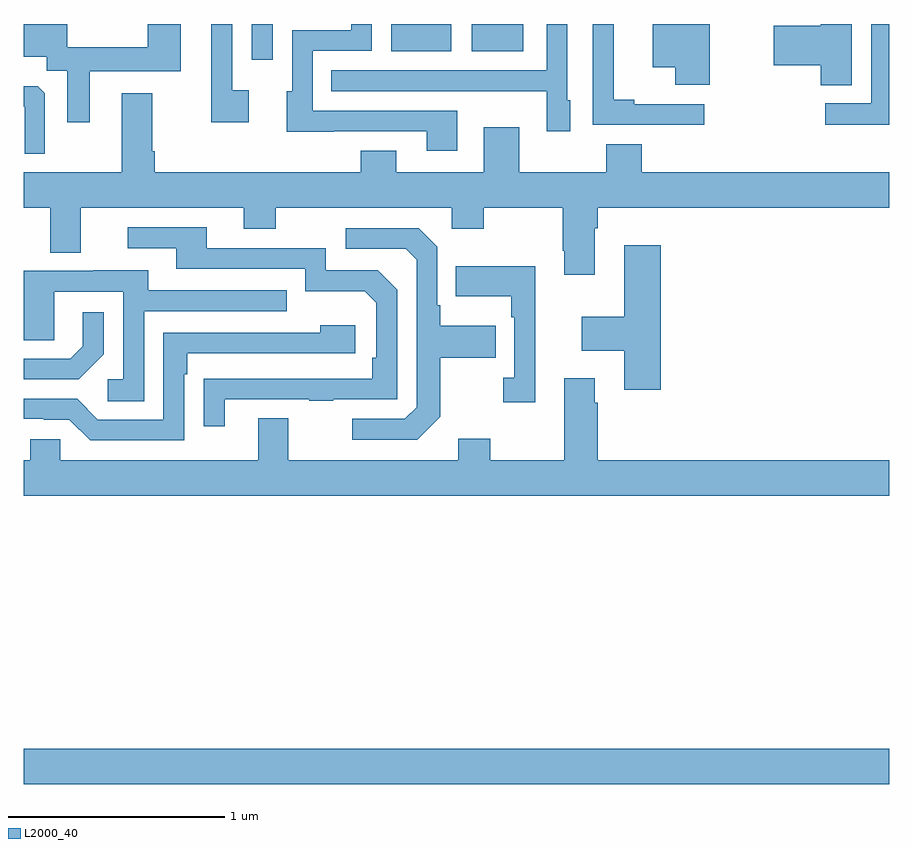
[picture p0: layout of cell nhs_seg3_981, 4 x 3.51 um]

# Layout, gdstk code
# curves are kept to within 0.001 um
import gdstk
lib = gdstk.Library(unit=1e-6, precision=1e-09)
def R(c, l, rs):  # rectangles x0, y0, x1, y1
    for r in rs: c.add(gdstk.rectangle(r[:2], r[2:], *l))
def P(c, l, *ps):  # polygons
    for p in ps: c.add(gdstk.Polygon(p, *l))
L2000_40 = (2000, 40)

nhs_seg3_981 = lib.new_cell('nhs_seg3_981')
R(nhs_seg3_981, L2000_40, [(161,728.888,165,729.052), (162.054,732.234,162.15,732.4), (162.698,732.275,162.976,732.4), (163.07,732.275,163.309,732.4)])
P(nhs_seg3_981, L2000_40, [(164.17,732.4),(163.907,732.4),(163.907,732.2),(164.012,732.2),(164.012,732.12),(164.17,732.12)],
  [(164.827,732.4),(164.684,732.4),(164.684,732.392),(164.466,732.392),(164.466,732.209),(164.684,732.209),(164.684,732.118),(164.827,732.118)],
  [(163.525,732.048),(163.512,732.048),(163.512,732.4),(163.416,732.4),(163.416,732.186),(162.421,732.186),(162.421,732.09),(163.099,732.09),(163.099,732.089),(163.416,732.089),(163.416,731.904),(163.525,731.904)],
  [(162.04,732.094),(161.964,732.094),(161.964,732.4),(161.867,732.4),(161.867,731.946),(162.04,731.946)],
  [(164.146,732.03),(163.822,732.03),(163.822,732.05),(163.727,732.05),(163.727,732.4),(163.629,732.4),(163.629,731.934),(164.146,731.934)],
  [(161.305,732.182),(161.725,732.182),(161.725,732.4),(161.573,732.4),(161.573,732.292),(161.202,732.292),(161.202,732.4),(161,732.4),(161,732.248),(161.106,732.248),(161.106,732.184),(161.201,732.184),(161.201,731.946),(161.305,731.946)],
  [(165,732.4),(164.916,732.4),(164.916,732.033),(164.703,732.033),(164.703,731.935),(165,731.935)],
  [(163.003,732),(162.336,732),(162.336,732.276),(162.609,732.276),(162.609,732.4),(162.513,732.4),(162.513,732.372),(162.24,732.372),(162.24,732.09),(162.215,732.09),(162.215,731.903),(162.433,731.903),(162.433,731.904),(162.863,731.904),(162.863,731.814),(163.003,731.814)],
  [(161.097,732.081),(161.065,732.113),(161,732.113),(161,732.018),(161.004,732.018),(161.004,731.801),(161.097,731.801)],
  [(163.639,731.456),(163.652,731.456),(163.652,731.552),(165,731.552),(165,731.716),(163.855,731.716),(163.855,731.845),(163.691,731.845),(163.691,731.716),(163.291,731.716),(163.291,731.923),(163.127,731.923),(163.127,731.716),(162.721,731.716),(162.721,731.815),(162.557,731.815),(162.557,731.716),(161.606,731.716),(161.606,731.812),(161.593,731.812),(161.593,732.079),(161.453,732.079),(161.453,731.716),(161,731.716),(161,731.552),(161.123,731.552),(161.123,731.344),(161.263,731.344),(161.263,731.552),(162.017,731.552),(162.017,731.453),(162.165,731.453),(162.165,731.552),(162.978,731.552),(162.978,731.453),(163.125,731.453),(163.125,731.552),(163.492,731.552),(163.492,731.353),(163.499,731.353),(163.499,731.241),(163.639,731.241)],
  [(161.929,730.665),(162.319,730.665),(162.319,730.66),(162.431,730.66),(162.431,730.665),(162.726,730.665),(162.726,731.172),(162.636,731.262),(162.396,731.262),(162.396,731.364),(161.845,731.364),(161.845,731.46),(161.481,731.46),(161.481,731.364),(161.705,731.364),(161.705,731.268),(162.3,731.268),(162.3,731.165),(162.577,731.165),(162.63,731.112),(162.63,730.858),(162.61,730.858),(162.61,730.761),(161.833,730.76),(161.833,730.542),(161.929,730.542)],
  [(162.925,730.585),(162.925,730.858),(163.181,730.858),(163.181,731.005),(162.925,731.005),(162.925,731.101),(162.912,731.101),(162.912,731.37),(162.825,731.457),(162.489,731.457),(162.489,731.361),(162.765,731.361),(162.816,731.31),(162.816,730.629),(162.762,730.575),(162.519,730.575),(162.519,730.479),(162.819,730.479)],
  [(163.943,731.377),(163.775,731.377),(163.775,731.047),(163.578,731.047),(163.578,730.889),(163.775,730.889),(163.775,730.71),(163.943,730.71)],
  [(163.364,731.281),(162.997,731.281),(162.997,731.141),(163.254,731.141),(163.254,731.045),(163.266,731.045),(163.266,730.766),(163.215,730.766),(163.215,730.653),(163.364,730.653)],
  [(161.556,731.073),(162.215,731.073),(162.215,731.169),(161.575,731.169),(161.575,731.263),(161.321,731.263),(161.321,731.259),(161,731.259),(161,730.939),(161.142,730.939),(161.142,731.163),(161.46,731.163),(161.46,730.758),(161.388,730.758),(161.388,730.657),(161.556,730.657)],
  [(161.37,730.874),(161.37,731.068),(161.273,731.068),(161.273,730.911),(161.216,730.854),(161,730.854),(161,730.758),(161.254,730.758)],
  [(161.742,730.781),(161.755,730.781),(161.755,730.878),(162.532,730.878),(162.532,731.008),(162.371,731.008),(162.371,730.974),(161.646,730.974),(161.646,730.572),(161.343,730.572),(161.247,730.668),(161,730.668),(161,730.575),(161.093,730.575),(161.093,730.572),(161.211,730.572),(161.307,730.476),(161.742,730.476)],
  [(165,730.384),(163.652,730.384),(163.652,730.649),(163.639,730.649),(163.639,730.762),(163.499,730.762),(163.499,730.384),(163.155,730.384),(163.155,730.483),(163.007,730.483),(163.007,730.384),(162.223,730.384),(162.223,730.579),(162.083,730.579),(162.083,730.384),(161.169,730.384),(161.169,730.482),(161.031,730.482),(161.031,730.384),(161,730.384),(161,730.22),(165,730.22)])

lib.write_gds('nhs_seg3_981.gds')
